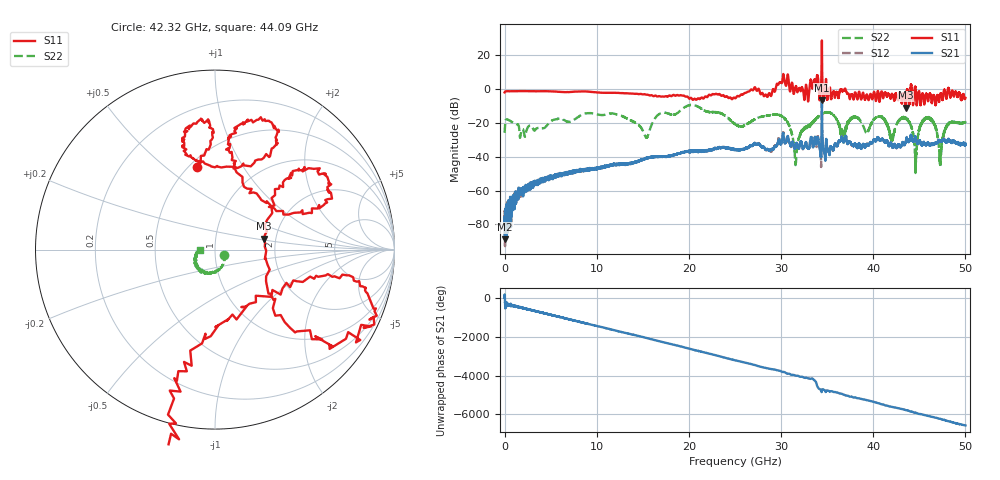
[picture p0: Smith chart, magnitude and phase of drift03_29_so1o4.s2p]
!Created with skrf (http://scikit-rf.org).
# Hz S RI R 50.0
!freq ReS11 ImS11 ReS21 ImS21 ReS12 ImS12 ReS22 ImS22
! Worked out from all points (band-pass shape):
!   10000 points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, 5.3 MHz to 50 GHz, reference 50 ohm
!   highest |S21| = -6.74 dB at 34.43 GHz (marker M1); lowest = -88.9 dB at 50.3 MHz (marker M2)
!   |S21| within 3 dB of the highest: 34.42745 GHz to 34.43524 GHz (7.781 MHz wide, 0.0226 % of centre)
!   lowest |S11| = -11.1 dB at 43.51 GHz (marker M3), VSWR 1.77, Z = 86.2 + j11.3 ohm
!   |S11| at or under -10 dB: 43.48863 GHz to 43.54289 GHz (54.26 MHz wide, 0.125 % of centre)
!   |S22| runs from -49.7 to -9.4 dB; largest |S21 - S12| = 0.13
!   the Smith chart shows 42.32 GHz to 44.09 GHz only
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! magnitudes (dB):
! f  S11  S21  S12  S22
! 5.3 MHz  -2.1  -76.0  -80.0  -25.9
! 50.3 MHz  -1.6  -88.9  -92.8  -20.6
! 2.435 GHz  -1.4  -59.3  -58.8  -23.7
! 8.34 GHz  -1.5  -48.1  -48.0  -15.3
! 15.39 GHz  -3.5  -41.1  -41.0  -28.8
! 16.67 GHz  -4.4  -40.1  -40.1  -15.3
! 20.45 GHz  -6.5  -36.6  -36.9  -9.5
! 25.01 GHz  -5.5  -35.7  -35.8  -20.8
! 29.95 GHz  4.0  -32.4  -32.0  -15.6
! 31.6 GHz  1.5  -33.6  -33.9  -43.9
! 33.34 GHz  2.5  -30.4  -30.4  -20.4
! 34.43 GHz  28.6  -6.7  -8.5  -14.6
! 36.7 GHz  -1.3  -30.0  -29.6  -29.6
! 37.95 GHz  -3.9  -32.8  -32.8  -16.7
! 41.67 GHz  -3.0  -33.3  -33.4  -23.4
! 43.51 GHz  -11.1  -31.6  -31.5  -17.4
! 44.61 GHz  -1.1  -28.9  -28.9  -40.8
! 45.27 GHz  -4.0  -33.1  -32.9  -20.1
! 46.27 GHz  -4.9  -32.9  -33.0  -18.0
! 47.28 GHz  -3.0  -30.6  -30.9  -46.0
! 48.15 GHz  0.4  -29.9  -30.3  -20.3
! 50 GHz  -5.3  -32.3  -32.5  -19.7
